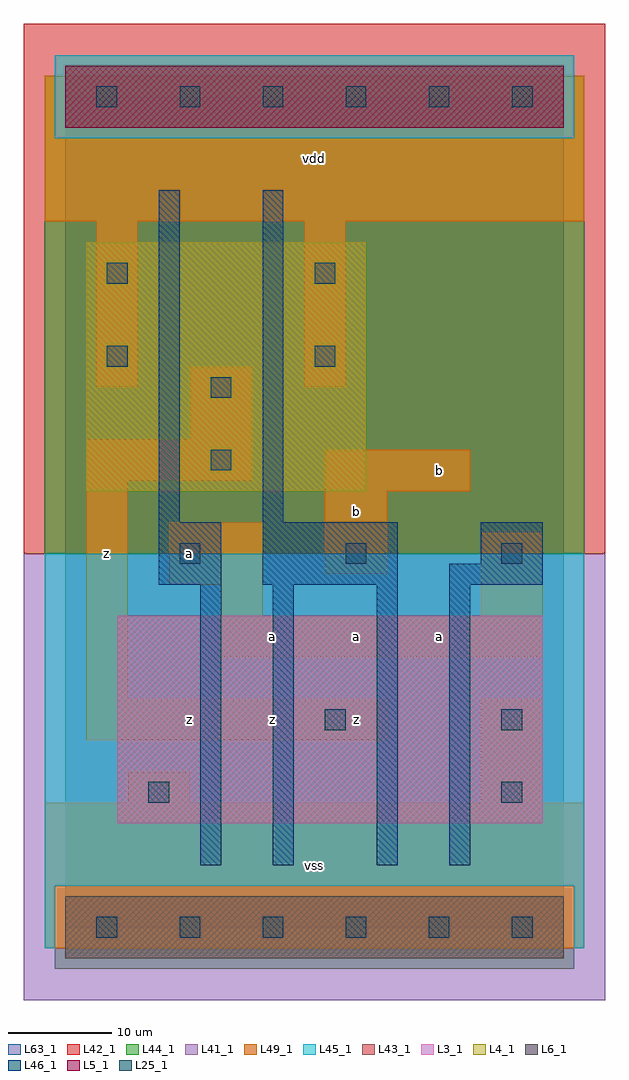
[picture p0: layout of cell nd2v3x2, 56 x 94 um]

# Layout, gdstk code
import gdstk
lib = gdstk.Library(unit=1e-6, precision=1e-09)
def R(c, l, rs):  # rectangles x0, y0, x1, y1
    for r in rs: c.add(gdstk.rectangle(r[:2], r[2:], *l))
def A(c, l, x, y, w, h, nx, ny, dx, dy):  # array of equal rectangles
    R(c, l, [(x+i*dx, y+j*dy, x+i*dx+w, y+j*dy+h) for i in range(nx) for j in range(ny)])
L3_1 = (3, 1)
L4_1 = (4, 1)
L5_1 = (5, 1)
L6_1 = (6, 1)
L25_1 = (25, 1)
L41_1 = (41, 1)
L42_1 = (42, 1)
L43_1 = (43, 1)
L44_1 = (44, 1)
L45_1 = (45, 1)
L46_1 = (46, 1)
L49_1 = (49, 1)
L63_1 = (63, 1)

nd2v3x2 = lib.new_cell('nd2v3x2')
R(nd2v3x2, L3_1, [(5,10,46,30)])
R(nd2v3x2, L4_1, [(2,42,29,66)])
R(nd2v3x2, L5_1, [(0,77,48,83)])
R(nd2v3x2, L6_1, [(0,-3,48,3), (0,-3,48,3)])
A(nd2v3x2, L25_1, 3, -1, 2, 2, 6, 2, 8, 80)
R(nd2v3x2, L25_1, [(8,12,10,14), (42,12,44,14), (25,19,27,21), (42,19,44,21), (11,35,13,37), (27,35,29,37), (42,35,44,37), (14,44,16,46), (14,51,16,53), (4,54,6,56), (24,54,26,56), (4,62,6,64), (24,62,26,64)])
R(nd2v3x2, L41_1, [(-4,-7,52,36)])
R(nd2v3x2, L42_1, [(-4,36,52,87)])
R(nd2v3x2, L43_1, [(0,-3,48,3), (5,10,46,30), (2,42,29,66), (0,77,48,83)])
R(nd2v3x2, L44_1, [(-1,-4,49,4), (-2,36,50,76), (-2,76,-1,82), (49,76,50,82)])
R(nd2v3x2, L45_1, [(-2,-2,-1,4), (49,-2,50,4), (-2,4,50,36), (-1,76,49,84)])
R(nd2v3x2, L46_1, [(13,6,15,33), (20,6,22,33), (30,6,32,33), (37,6,39,33), (9,33,15,39), (19,33,32,39), (37,33,46,35), (40,35,46,39), (9,39,11,71), (19,39,21,71)])
R(nd2v3x2, L49_1, [(-2,-2,50,12), (6,12,12,15), (40,12,46,22), (2,18,31,22), (2,22,6,43), (15,26,46,30), (15,30,19,33), (40,30,46,38), (10,33,19,39), (25,34,31,42), (25,42,39,46), (2,43,18,47), (12,47,18,54), (3,52,7,68), (23,52,27,68), (-2,68,50,82)])
R(nd2v3x2, L63_1, [(0,0,48,80)])
nd2v3x2.add(gdstk.Label('z', (4,36), layer=49, texttype=1))
nd2v3x2.add(gdstk.Label('z', (20,20), layer=49, texttype=1))
nd2v3x2.add(gdstk.Label('z', (12,20), layer=49, texttype=1))
nd2v3x2.add(gdstk.Label('a', (12,36), layer=49, texttype=1))
nd2v3x2.add(gdstk.Label('a', (20,28), layer=49, texttype=1))
nd2v3x2.add(gdstk.Label('vss', (24,6), layer=49, texttype=1))
nd2v3x2.add(gdstk.Label('z', (28,20), layer=49, texttype=1))
nd2v3x2.add(gdstk.Label('a', (28,28), layer=49, texttype=1))
nd2v3x2.add(gdstk.Label('b', (28,40), layer=49, texttype=1))
nd2v3x2.add(gdstk.Label('vdd', (24,74), layer=49, texttype=1))
nd2v3x2.add(gdstk.Label('a', (36,28), layer=49, texttype=1))
nd2v3x2.add(gdstk.Label('b', (36,44), layer=49, texttype=1))

lib.write_gds('nd2v3x2.gds')
